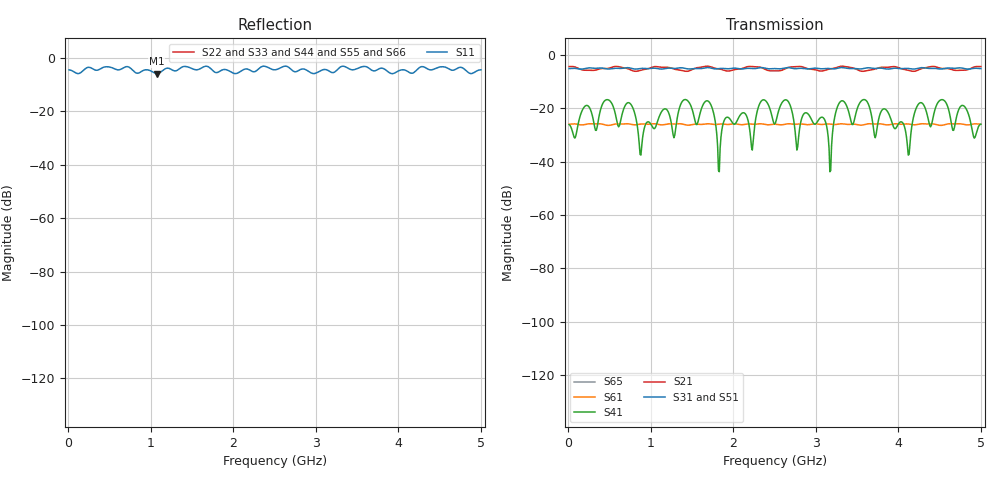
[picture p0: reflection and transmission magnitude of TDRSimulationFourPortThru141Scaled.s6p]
# MHz MA S R 50.0
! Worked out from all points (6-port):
!   500 points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, 10 MHz to 5 GHz, reference 50 ohm
!   strongest paths, dB at 10 MHz, 1.26 GHz, 2.51 GHz, 3.76 GHz, 5 GHz:
!     S31: -5.2, -5.1, -5.2, -5.0, -5.2
!     S51: -5.2, -5.1, -5.2, -5.1, -5.2
!     S21: -4.4, -5.1, -6.0, -4.9, -4.4
!     S41: -26.1, -27.8, -25.6, -24.3, -26.0
!     S61: -26.0, -25.9, -26.0, -25.9, -26.0
!     S65: -, -, -, -, -
!   lowest |S11| = -5.9 dB at 1.07 GHz (marker M1), VSWR 3.07, Z = 113 - j62.8 ohm
!   |S11| at or under -10 dB: nowhere
